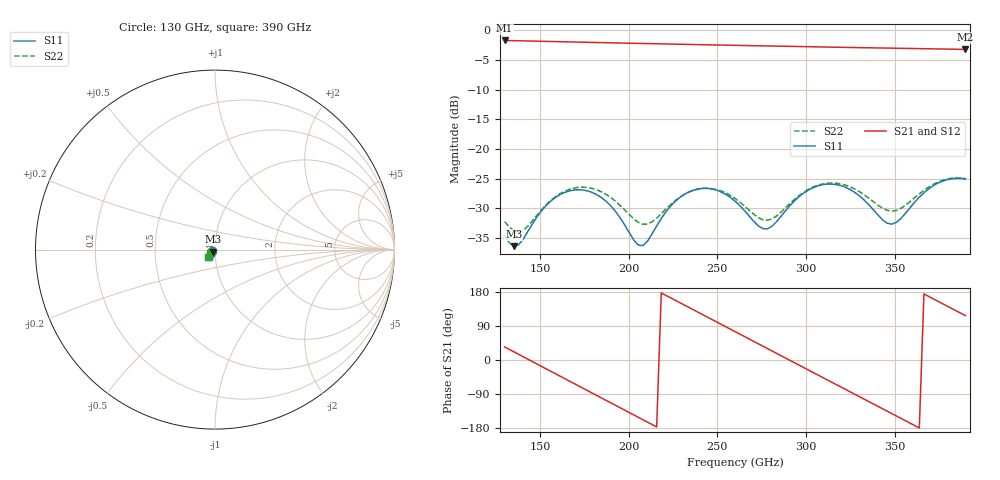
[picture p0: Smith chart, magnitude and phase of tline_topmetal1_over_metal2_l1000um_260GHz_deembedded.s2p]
! Created with skrf 2.2.0 (http://scikit-rf.org).
# GHz S DB R 50.0
! Port[1] = P1
! Port[2] = P2
!freq dBS11 angS11 dBS21 angS21 dBS12 angS12 dBS22 angS22
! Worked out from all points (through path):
!   101 points, 130 GHz to 390 GHz, reference 50 ohm
!   highest |S21| = -1.71 dB at 130 GHz (marker M1); lowest = -3.2 dB at 390 GHz (marker M2)
!   group delay of S21, straight-line fit = 6.81 ps
!   lowest |S11| = -36.4 dB at 135.2 GHz (marker M3), VSWR 1.03, Z = 49.1 - j1.2 ohm
!   |S11| at or under -10 dB: start of sweep to end of sweep
!   |S22| runs from -34.0 to -24.9 dB; largest |S21 - S12| = 1.3e-13
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130  -34.68 -145.1  -1.71 34.5  -1.71 34.5  -32.27 -144.9
135.2  -36.40 -126.1  -1.74 21.7  -1.74 21.7  -33.79 -133.9
153.4  -29.56 -98.6  -1.86 -23.2  -1.86 -23.2  -29.43 -104.7
163.8  -27.35 -113.6  -1.93 -48.8  -1.93 -48.8  -27.14 -115.4
174.2  -26.93 -131.5  -2.01 -74.4  -2.01 -74.4  -26.45 -130.3
189.8  -29.57 -154.6  -2.11 -112.8  -2.11 -112.8  -28.18 -149.5
205.4  -36.22 -135.3  -2.20 -151.1  -2.20 -151.1  -32.38 -141.8
218.4  -31.73 -96.7  -2.28 177.0  -2.28 177.0  -30.92 -114.5
228.8  -28.20 -104.3  -2.35 151.5  -2.35 151.5  -28.16 -115.3
241.8  -26.66 -123.4  -2.43 119.6  -2.43 119.6  -26.66 -129.1
260  -28.80 -146.5  -2.53 75.0  -2.53 75.0  -28.35 -147.7
275.6  -33.44 -130.5  -2.62 36.8  -2.62 36.8  -31.95 -135.0
283.4  -32.29 -107.9  -2.66 17.7  -2.66 17.7  -31.32 -117.2
293.8  -28.70 -102.7  -2.72 -7.7  -2.72 -7.7  -28.45 -110.1
304.2  -26.52 -112.9  -2.78 -33.2  -2.78 -33.2  -26.41 -117.4
317.2  -26.02 -130.7  -2.85 -65.0  -2.85 -65.0  -25.79 -132.3
327.6  -27.33 -143.1  -2.91 -90.4  -2.91 -90.4  -26.77 -142.4
338  -30.24 -145.9  -2.96 -115.8  -2.96 -115.8  -28.89 -144.2
348.4  -32.69 -123.1  -3.01 -141.2  -3.01 -141.2  -30.49 -129.3
358.8  -29.91 -100.9  -3.06 -166.7  -3.06 -166.7  -28.88 -113.1
369.2  -26.76 -103.8  -3.11 167.9  -3.11 167.9  -26.45 -113.6
390  -25.08 -130.1  -3.22 117.1  -3.22 117.1  -24.97 -134.8
